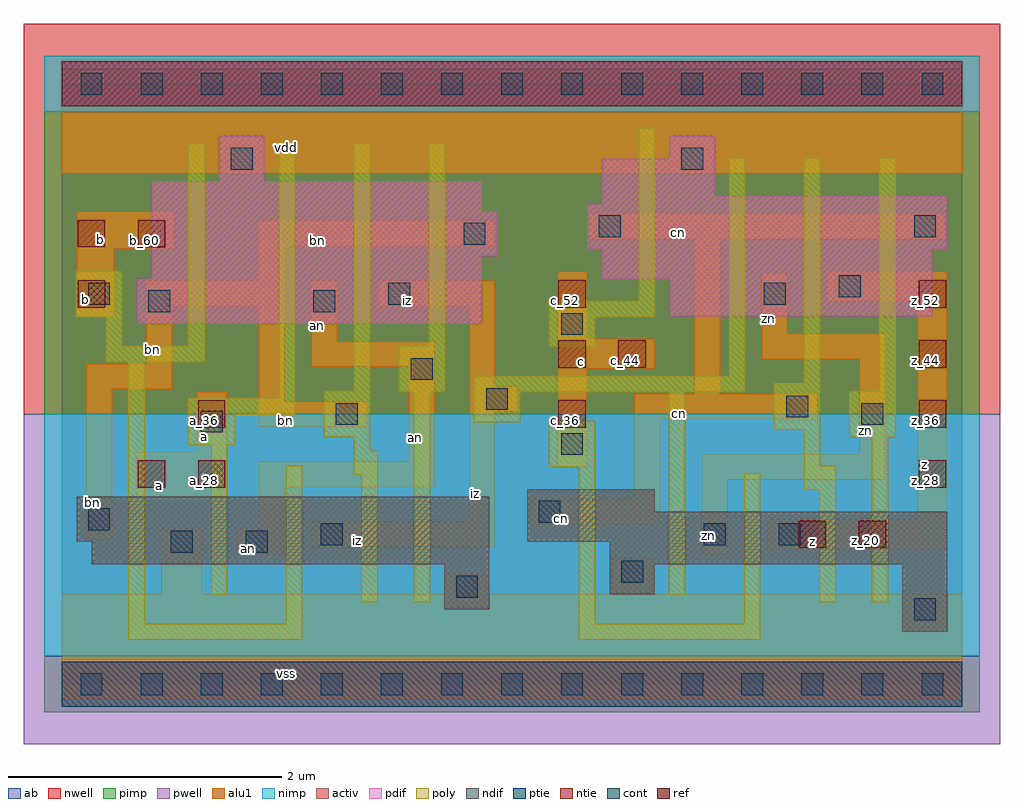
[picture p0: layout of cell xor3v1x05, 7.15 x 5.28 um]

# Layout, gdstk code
import gdstk
lib = gdstk.Library(unit=1e-6, precision=2.5e-09)
def R(c, l, rs):  # rectangles x0, y0, x1, y1
    for r in rs: c.add(gdstk.rectangle(r[:2], r[2:], *l))
def A(c, l, x, y, w, h, nx, ny, dx, dy):  # array of equal rectangles
    R(c, l, [(x+i*dx, y+j*dy, x+i*dx+w, y+j*dy+h) for i in range(nx) for j in range(ny)])
ndif = (3, 0)
pdif = (4, 0)
ntie = (5, 0)
ptie = (6, 0)
ref = (24, 0)
cont = (25, 0)
pwell = (41, 0)
nwell = (42, 0)
activ = (43, 0)
pimp = (44, 0)
nimp = (45, 0)
poly = (46, 0)
alu1 = (49, 0)
ab = (63, 0)

xor3v1x05 = lib.new_cell('xor3v1x05')
R(xor3v1x05, ndif, [(6.16,0.385,6.49,0.88), (2.805,0.55,3.135,0.88), (4.015,0.66,4.345,0.88), (0.22,0.88,3.135,1.045), (4.015,0.88,6.49,1.045), (0.11,1.045,3.135,1.375), (3.41,1.045,6.49,1.265), (3.41,1.265,4.345,1.43)])
R(xor3v1x05, pdif, [(0.55,2.64,3.08,2.97), (4.455,2.695,6.38,2.97), (0.66,2.97,3.08,3.135), (3.96,2.97,6.38,3.19), (0.66,3.135,3.19,3.465), (3.85,3.19,6.49,3.52), (0.66,3.465,3.08,3.685), (3.96,3.52,6.49,3.575), (3.96,3.575,4.785,3.85), (1.155,3.685,1.485,4.015), (4.455,3.85,4.785,4.015)])
R(xor3v1x05, ntie, [(0,4.235,6.6,4.565)])
R(xor3v1x05, ptie, [(0,-0.165,6.6,0.165)])
A(xor3v1x05, ref, 1, 1.88, 0.2, 0.2, 3, 1, 2.64, 0)
R(xor3v1x05, ref, [(5.4,1,5.6,1.2), (5.84,1,6.04,1.2), (0.56,1.44,0.76,1.64), (1,1.44,1.2,1.64), (6.28,1.44,6.48,1.64), (3.64,2.32,3.84,2.52), (4.08,2.32,4.28,2.52), (6.28,2.32,6.48,2.52), (0.12,2.76,0.32,2.96), (3.64,2.76,3.84,2.96), (6.28,2.76,6.48,2.96), (0.12,3.2,0.32,3.4), (0.56,3.2,0.76,3.4)])
A(xor3v1x05, cont, 0.14, -0.08, 0.16, 0.16, 15, 2, 0.44, 4.4)
R(xor3v1x05, cont, [(6.245,0.47,6.405,0.63), (2.89,0.635,3.05,0.795), (4.1,0.745,4.26,0.905), (0.8,0.965,0.96,1.125), (1.35,0.965,1.51,1.125), (1.9,1.02,2.06,1.18), (4.705,1.02,4.865,1.18), (5.255,1.02,5.415,1.18), (0.195,1.13,0.355,1.29), (3.495,1.185,3.655,1.345), (3.66,1.68,3.82,1.84), (1.02,1.845,1.18,2.005), (2.01,1.9,2.17,2.06), (5.86,1.9,6.02,2.06), (5.31,1.955,5.47,2.115), (3.11,2.01,3.27,2.17), (2.56,2.23,2.72,2.39), (3.66,2.56,3.82,2.72), (0.635,2.725,0.795,2.885), (1.845,2.725,2.005,2.885), (0.195,2.78,0.355,2.94), (2.395,2.78,2.555,2.94), (5.145,2.78,5.305,2.94), (5.695,2.835,5.855,2.995), (2.945,3.22,3.105,3.38), (3.935,3.275,4.095,3.435), (6.245,3.275,6.405,3.435), (1.24,3.77,1.4,3.93), (4.54,3.77,4.7,3.93)])
R(xor3v1x05, pwell, [(-0.275,-0.44,6.875,1.98)])
R(xor3v1x05, nwell, [(-0.275,1.98,6.875,4.84)])
R(xor3v1x05, activ, [(0,-0.165,6.6,0.165), (6.16,0.385,6.49,0.88), (2.805,0.55,3.135,0.88), (4.015,0.66,4.345,0.88), (0.22,0.88,3.135,1.045), (4.015,0.88,6.49,1.045), (0.11,1.045,3.135,1.375), (3.41,1.045,6.49,1.265), (3.41,1.265,4.345,1.43), (0.55,2.64,3.08,2.97), (4.455,2.695,6.38,2.97), (0.66,2.97,3.08,3.135), (3.96,2.97,6.38,3.19), (0.66,3.135,3.19,3.465), (3.85,3.19,6.49,3.52), (0.66,3.465,3.08,3.685), (3.96,3.52,6.49,3.575), (3.96,3.575,4.785,3.85), (1.155,3.685,1.485,4.015), (4.455,3.85,4.785,4.015), (0,4.235,6.6,4.565)])
R(xor3v1x05, pimp, [(-0.125,-0.205,6.725,0.205), (-0.125,1.98,6.725,4.195)])
R(xor3v1x05, nimp, [(-0.125,0.205,6.725,1.98), (-0.125,4.195,6.725,4.605)])
R(xor3v1x05, poly, [(0.49,0.325,1.765,0.445), (3.79,0.325,5.12,0.445), (0.49,0.445,0.61,2.36), (1.645,0.445,1.765,1.6), (3.79,0.445,3.91,1.59), (5,0.445,5.12,1.545), (2.195,0.6,2.315,1.535), (2.58,0.6,2.7,2.14), (5.55,0.6,5.67,1.425), (5.935,0.6,6.055,1.81), (1.095,0.655,1.215,1.755), (4.45,0.655,4.57,2.14), (5.44,1.425,5.67,1.6), (2.14,1.535,2.315,1.71), (3.57,1.59,3.91,1.93), (5.44,1.6,5.56,1.865), (2.14,1.71,2.26,1.81), (0.93,1.755,1.27,1.975), (1.92,1.81,2.26,2.15), (5.77,1.81,6.11,2.15), (5.22,1.865,5.56,2.205), (3.02,1.92,3.36,2.14), (0.93,1.975,1.71,2.095), (1.59,2.095,1.71,3.965), (2.47,2.14,2.81,2.48), (3.02,2.14,5.01,2.26), (2.14,2.15,2.26,3.965), (5.99,2.15,6.11,3.855), (5.44,2.205,5.56,3.855), (4.89,2.26,5.01,3.855), (0.325,2.36,1.05,2.48), (3.57,2.47,3.91,2.69), (0.325,2.48,0.445,2.69), (0.93,2.48,1.05,3.965), (2.69,2.48,2.81,3.965), (0.105,2.69,0.445,3.03), (3.57,2.69,4.35,2.81), (4.23,2.81,4.35,4.075)])
R(xor3v1x05, alu1, [(0,-0.11,6.6,0.66), (0.73,0.66,1.03,1.14), (2.82,0.66,3.12,0.81), (4.03,0.66,4.33,0.92), (1.28,0.95,1.635,1.14), (4.69,0.95,4.88,1.5), (5.17,0.99,6.49,1.21), (1.83,1.005,3.175,1.195), (0.18,1.06,0.37,2.16), (1.445,1.14,1.635,1.445), (3.425,1.17,4.385,1.36), (2.985,1.195,3.175,1.995), (6.27,1.21,6.49,2.805), (4.195,1.36,4.385,1.94), (0.55,1.375,1.21,1.705), (1.445,1.445,2.735,1.635), (4.69,1.5,6.035,1.69), (3.63,1.595,3.85,2.31), (2.545,1.635,2.735,2.325), (5.845,1.69,6.035,2.38), (0.99,1.705,1.21,2.145), (1.445,1.885,2.24,2.075), (4.195,1.94,5.54,2.13), (2.985,1.995,3.34,2.185), (1.445,2.075,1.635,2.765), (4.635,2.13,4.825,3.26), (0.18,2.16,0.81,2.35), (2.985,2.185,3.175,2.765), (3.63,2.31,4.345,2.53), (1.83,2.325,2.735,2.515), (0.62,2.35,0.81,2.765), (5.13,2.38,6.035,2.57), (1.83,2.515,2.02,2.955), (3.63,2.53,3.85,3.025), (5.13,2.57,5.32,3.01), (0.11,2.695,0.385,3.19), (0.62,2.765,1.635,2.955), (2.325,2.765,3.175,2.955), (5.61,2.805,6.49,3.025), (1.445,2.955,1.635,3.205), (0.11,3.19,0.825,3.465), (1.445,3.205,3.175,3.395), (3.865,3.26,6.475,3.45), (0,3.74,6.6,4.51)])
R(xor3v1x05, ab, [(0,0,6.6,4.4)])
xor3v1x05.add(gdstk.Label('vss', (1.65,0.0825), layer=49, texttype=0))
xor3v1x05.add(gdstk.Label('z', (5.5,1.045), layer=49, texttype=0))
xor3v1x05.add(gdstk.Label('z', (6.325,1.6075), layer=49, texttype=0))
xor3v1x05.add(gdstk.Label('zn', (4.7375,1.0875), layer=49, texttype=0))
xor3v1x05.add(gdstk.Label('cn', (3.665,1.2175), layer=49, texttype=0))
xor3v1x05.add(gdstk.Label('iz', (2.165,1.0525), layer=49, texttype=0))
xor3v1x05.add(gdstk.Label('an', (1.3675,0.9975), layer=49, texttype=0))
xor3v1x05.add(gdstk.Label('zn', (5.8925,1.8625), layer=49, texttype=0))
xor3v1x05.add(gdstk.Label('cn', (4.53,1.9875), layer=49, texttype=0))
xor3v1x05.add(gdstk.Label('zn', (5.1775,2.68), layer=49, texttype=0))
xor3v1x05.add(gdstk.Label('iz', (3.0325,1.395), layer=49, texttype=0))
xor3v1x05.add(gdstk.Label('c', (3.8075,2.365), layer=49, texttype=0))
xor3v1x05.add(gdstk.Label('an', (2.5925,1.8075), layer=49, texttype=0))
xor3v1x05.add(gdstk.Label('a', (0.715,1.4575), layer=49, texttype=0))
xor3v1x05.add(gdstk.Label('bn', (1.6425,1.9325), layer=49, texttype=0))
xor3v1x05.add(gdstk.Label('iz', (2.5375,2.8125), layer=49, texttype=0))
xor3v1x05.add(gdstk.Label('an', (1.8775,2.625), layer=49, texttype=0))
xor3v1x05.add(gdstk.Label('a', (1.045,1.815), layer=49, texttype=0))
xor3v1x05.add(gdstk.Label('bn', (0.2275,1.335), layer=49, texttype=0))
xor3v1x05.add(gdstk.Label('bn', (0.6675,2.4525), layer=49, texttype=0))
xor3v1x05.add(gdstk.Label('b', (0.1775,2.8175), layer=49, texttype=0))
xor3v1x05.add(gdstk.Label('cn', (4.5175,3.3075), layer=49, texttype=0))
xor3v1x05.add(gdstk.Label('bn', (1.8775,3.2525), layer=49, texttype=0))
xor3v1x05.add(gdstk.Label('b', (0.2875,3.2575), layer=49, texttype=0))
xor3v1x05.add(gdstk.Label('vdd', (1.65,3.9325), layer=49, texttype=0))
xor3v1x05.add(gdstk.Label('z_20', (5.45,1.05), layer=24, texttype=0))
xor3v1x05.add(gdstk.Label('z_20', (5.89,1.05), layer=24, texttype=0))
xor3v1x05.add(gdstk.Label('z_28', (6.33,1.49), layer=24, texttype=0))
xor3v1x05.add(gdstk.Label('z_36', (6.33,1.93), layer=24, texttype=0))
xor3v1x05.add(gdstk.Label('z_44', (6.33,2.37), layer=24, texttype=0))
xor3v1x05.add(gdstk.Label('z_52', (6.33,2.81), layer=24, texttype=0))
xor3v1x05.add(gdstk.Label('a_28', (0.61,1.49), layer=24, texttype=0))
xor3v1x05.add(gdstk.Label('b_60', (0.61,3.25), layer=24, texttype=0))
xor3v1x05.add(gdstk.Label('a_28', (1.05,1.49), layer=24, texttype=0))
xor3v1x05.add(gdstk.Label('a_36', (1.05,1.93), layer=24, texttype=0))
xor3v1x05.add(gdstk.Label('b_52', (0.17,2.81), layer=24, texttype=0))
xor3v1x05.add(gdstk.Label('b_60', (0.17,3.25), layer=24, texttype=0))
xor3v1x05.add(gdstk.Label('c_36', (3.69,1.93), layer=24, texttype=0))
xor3v1x05.add(gdstk.Label('c_44', (3.69,2.37), layer=24, texttype=0))
xor3v1x05.add(gdstk.Label('c_52', (3.69,2.81), layer=24, texttype=0))
xor3v1x05.add(gdstk.Label('c_44', (4.13,2.37), layer=24, texttype=0))

lib.write_gds('xor3v1x05.gds')
